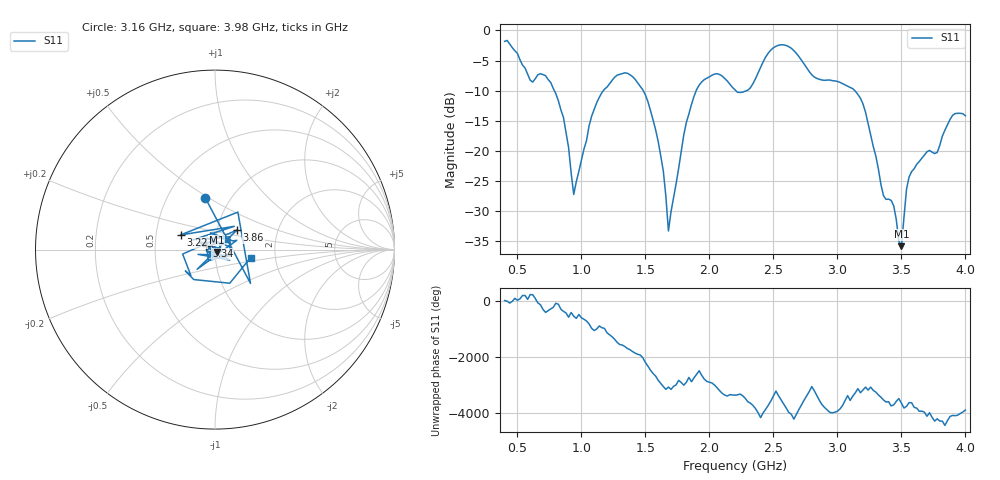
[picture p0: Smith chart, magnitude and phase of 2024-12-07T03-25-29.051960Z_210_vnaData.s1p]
!Created with skrf (http://scikit-rf.org).
# Hz S RI R 50.0
!freq ReS11 ImS11
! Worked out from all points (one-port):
!   181 points, 400 MHz to 4 GHz, reference 50 ohm
!   lowest |S11| = -35.9 dB at 3.5 GHz (marker M1), VSWR 1.03, Z = 51 - j1.31 ohm
!   |S11| at or under -10 dB: 788.5 MHz to 1.172 GHz (383.5 MHz wide, 39.1 % of centre); 1.483 GHz to 1.897 GHz (414.2 MHz wide, 24.5 % of centre); 3.135 GHz to end of sweep (the widest 3 of 4)
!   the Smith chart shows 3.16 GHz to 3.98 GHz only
!   S11 on the Smith chart (normalised r, x): 3.16 GHz: 0.76, +0.48; 3.22 GHz: 0.67, +0.11; 3.34 GHz: 0.91, +0.04; 3.86 GHz: 1.25, +0.28; 3.98 GHz: 1.49, -0.14
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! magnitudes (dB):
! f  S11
! 400 MHz  -1.8
! 600 MHz  -8.3
! 720 MHz  -7.5
! 860 MHz  -14.5
! 940 MHz  -27.3
! 1.12 GHz  -12.0
! 1.3 GHz  -7.3
! 1.52 GHz  -11.9
! 1.64 GHz  -23.4
! 1.68 GHz  -33.4
! 1.76 GHz  -22.9
! 1.82 GHz  -15.3
! 1.92 GHz  -9.1
! 2.06 GHz  -7.2
! 2.2 GHz  -9.9
! 2.32 GHz  -9.5
! 2.5 GHz  -2.9
! 2.66 GHz  -3.4
! 3.1 GHz  -9.5
! 3.16 GHz  -10.6
! 3.22 GHz  -13.6
! 3.34 GHz  -25.6
! 3.44 GHz  -29.2
! 3.5 GHz  -35.9
! 3.56 GHz  -24.4
! 3.86 GHz  -15.7
! 3.98 GHz  -13.8
! 4 GHz  -14.2
